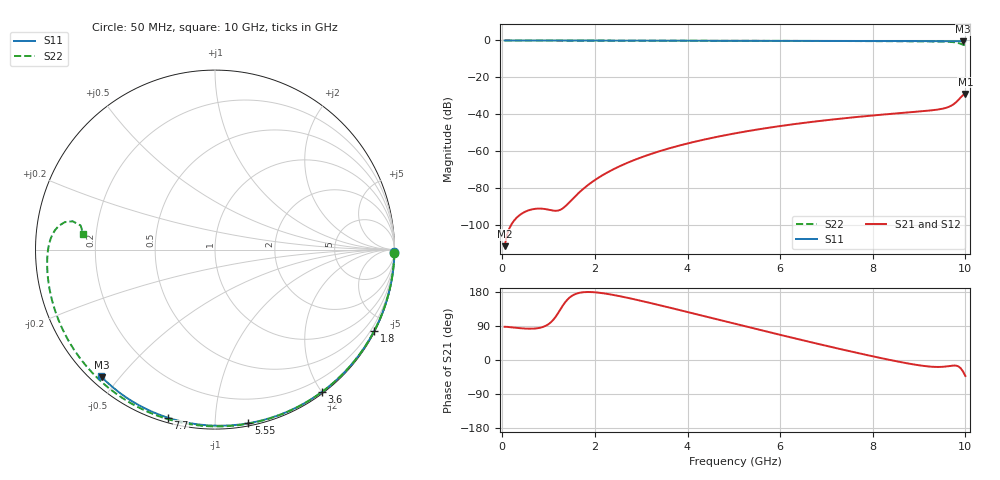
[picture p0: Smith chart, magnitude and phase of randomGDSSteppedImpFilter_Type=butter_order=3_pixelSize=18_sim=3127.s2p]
! freq	dB(S11)	phase(S11)	dB(S12)	phase(S12)
!  dB(S21)	phase(S21)	dB(S22)	phase(S22)
!S-par simulation data
#  GHz  S  DB  R 50
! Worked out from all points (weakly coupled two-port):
!   200 points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, 50 MHz to 10 GHz, reference 50 ohm
!   highest |S21| = -28.98 dB at 10 GHz (marker M1); lowest = -111.7 dB at 50 MHz (marker M2)
!   lowest |S11| = -0.4 dB at 9.95 GHz (marker M3), VSWR 39.64, Z = 1.52 - j22.5 ohm
!   |S11| at or under -10 dB: nowhere
!   |S22| runs from -2.6 to 0.0 dB; largest |S21 - S12| = 0
!   S11 on the Smith chart (normalised r, x): 50 MHz: open; 1.8 GHz: 0.04, -4.15; 3.6 GHz: 0.02, -2.01; 5.55 GHz: 0.02, -1.21; 7.7 GHz: 0.02, -0.76; 10 GHz: 0.03, -0.44
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0.05  -0.00 -0.8  -111.69 87.7  -111.69 87.7  -0.00 -1.1
0.85  -0.02 -12.9  -91.33 86.1  -91.33 86.1  -0.02 -18.1
1.75  -0.03 -26.4  -80.53 178.9  -80.53 178.9  -0.05 -36.8
1.8  -0.03 -27.1  -79.49 179.3  -79.49 179.3  -0.05 -37.9
2.1  -0.04 -31.5  -74.15 177.4  -74.15 177.4  -0.06 -44.0
2.45  -0.05 -36.6  -69.31 170.5  -69.31 170.5  -0.07 -51.0
2.9  -0.06 -43.1  -64.42 158.8  -64.42 158.8  -0.08 -59.9
3.4  -0.07 -50.2  -60.10 144.5  -60.10 144.5  -0.09 -69.6
3.6  -0.07 -53.0  -58.61 138.6  -58.61 138.6  -0.10 -73.4
4.3  -0.09 -62.6  -54.14 117.6  -54.14 117.6  -0.12 -86.4
5.05  -0.11 -72.6  -50.32 94.9  -50.32 94.9  -0.15 -100.0
5.55  -0.13 -79.1  -48.18 79.9  -48.18 79.9  -0.18 -108.8
6.7  -0.18 -93.6  -44.16 45.9  -44.16 45.9  -0.25 -128.7
7.7  -0.24 -105.6  -41.44 17.8  -41.44 17.8  -0.33 -145.9
8.35  -0.29 -113.3  -39.94 0.6  -39.94 0.6  -0.40 -157.3
9  -0.35 -120.8  -38.57 -13.9  -38.57 -13.9  -0.49 -169.3
9.55  -0.40 -127.1  -36.80 -17.6  -36.80 -17.6  -0.66 178.9
9.75  -0.42 -129.3  -34.54 -14.6  -34.54 -14.6  -0.94 173.0
9.85  -0.43 -130.4  -32.27 -16.9  -32.27 -16.9  -1.40 169.7
9.9  -0.44 -130.9  -30.90 -21.9  -30.90 -21.9  -1.84 168.7
9.95  -0.44 -131.5  -29.68 -30.6  -29.68 -30.6  -2.38 169.8
10  -0.44 -132.1  -28.98 -42.3  -28.98 -42.3  -2.64 173.5
